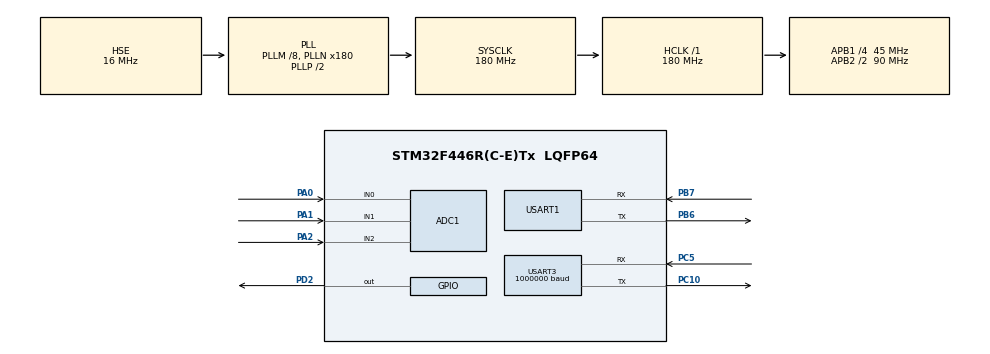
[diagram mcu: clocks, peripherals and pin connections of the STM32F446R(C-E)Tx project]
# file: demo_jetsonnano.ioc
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ADC1.Channel-0\#ChannelRegularConversion=ADC_CHANNEL_0
ADC1.Channel-1\#ChannelRegularConversion=ADC_CHANNEL_1
ADC1.Channel-2\#ChannelRegularConversion=ADC_CHANNEL_2
ADC1.DMAContinuousRequests=ENABLE
ADC1.ExternalTrigConv=ADC_EXTERNALTRIGCONV_T8_TRGO
ADC1.NbrOfConversion=3
ADC1.NbrOfConversionFlag=1
ADC1.Rank-0\#ChannelRegularConversion=1
ADC1.Rank-1\#ChannelRegularConversion=2
ADC1.Rank-2\#ChannelRegularConversion=3
ADC1.SamplingTime-0\#ChannelRegularConversion=ADC_SAMPLETIME_15CYCLES
ADC1.SamplingTime-1\#ChannelRegularConversion=ADC_SAMPLETIME_15CYCLES
ADC1.SamplingTime-2\#ChannelRegularConversion=ADC_SAMPLETIME_15CYCLES
ADC1.ScanConvMode=ENABLE
ADC1.master=1
Dma.ADC1.0.Direction=DMA_PERIPH_TO_MEMORY
Dma.ADC1.0.FIFOMode=DMA_FIFOMODE_DISABLE
Dma.ADC1.0.Instance=DMA2_Stream0
Dma.ADC1.0.MemDataAlignment=DMA_MDATAALIGN_WORD
Dma.ADC1.0.MemInc=DMA_MINC_ENABLE
Dma.ADC1.0.Mode=DMA_CIRCULAR
Dma.ADC1.0.PeriphDataAlignment=DMA_PDATAALIGN_WORD
Dma.ADC1.0.PeriphInc=DMA_PINC_DISABLE
Dma.ADC1.0.Priority=DMA_PRIORITY_LOW
Dma.Request0=ADC1
Dma.Request1=USART1_RX
Dma.Request2=USART1_TX
Dma.Request3=USART3_TX
Dma.USART1_RX.1.Direction=DMA_PERIPH_TO_MEMORY
Dma.USART1_RX.1.FIFOMode=DMA_FIFOMODE_DISABLE
Dma.USART1_RX.1.Instance=DMA2_Stream2
Dma.USART1_RX.1.MemDataAlignment=DMA_MDATAALIGN_BYTE
Dma.USART1_RX.1.MemInc=DMA_MINC_ENABLE
Dma.USART1_RX.1.Mode=DMA_CIRCULAR
Dma.USART1_RX.1.PeriphDataAlignment=DMA_PDATAALIGN_BYTE
Dma.USART1_RX.1.PeriphInc=DMA_PINC_DISABLE
Dma.USART1_RX.1.Priority=DMA_PRIORITY_LOW
Dma.USART1_TX.2.Direction=DMA_MEMORY_TO_PERIPH
Dma.USART1_TX.2.FIFOMode=DMA_FIFOMODE_DISABLE
Dma.USART1_TX.2.Instance=DMA2_Stream7
Dma.USART1_TX.2.MemDataAlignment=DMA_MDATAALIGN_BYTE
Dma.USART1_TX.2.MemInc=DMA_MINC_ENABLE
Dma.USART1_TX.2.Mode=DMA_CIRCULAR
Dma.USART1_TX.2.PeriphDataAlignment=DMA_PDATAALIGN_BYTE
Dma.USART1_TX.2.PeriphInc=DMA_PINC_DISABLE
Dma.USART1_TX.2.Priority=DMA_PRIORITY_LOW
Dma.USART3_TX.3.Direction=DMA_MEMORY_TO_PERIPH
Dma.USART3_TX.3.FIFOMode=DMA_FIFOMODE_DISABLE
Dma.USART3_TX.3.Instance=DMA1_Stream3
Dma.USART3_TX.3.MemDataAlignment=DMA_MDATAALIGN_BYTE
Dma.USART3_TX.3.MemInc=DMA_MINC_ENABLE
Dma.USART3_TX.3.Mode=DMA_CIRCULAR
Dma.USART3_TX.3.PeriphDataAlignment=DMA_PDATAALIGN_BYTE
Dma.USART3_TX.3.PeriphInc=DMA_PINC_DISABLE
Dma.USART3_TX.3.Priority=DMA_PRIORITY_LOW
Mcu.Family=STM32F4
Mcu.Name=STM32F446R(C-E)Tx
Mcu.Package=LQFP64
NVIC.ADC_IRQn=true\:0\:0\:false\:false\:true\:true\:true\:true
NVIC.DMA1_Stream3_IRQn=true\:0\:0\:false\:false\:true\:false\:true\:true
NVIC.DMA2_Stream0_IRQn=true\:0\:0\:false\:false\:true\:false\:true\:true
NVIC.DMA2_Stream2_IRQn=true\:0\:0\:false\:false\:true\:false\:true\:true
NVIC.DMA2_Stream7_IRQn=true\:0\:0\:false\:false\:true\:false\:true\:true
NVIC.PriorityGroup=NVIC_PRIORITYGROUP_4
NVIC.TIM8_UP_TIM13_IRQn=true\:0\:0\:false\:false\:true\:true\:true\:true
NVIC.USART1_IRQn=true\:0\:0\:false\:false\:true\:true\:true\:true
NVIC.USART3_IRQn=true\:0\:0\:false\:false\:true\:true\:true\:true
PA0-WKUP.Signal=ADCx_IN0
PA1.Signal=ADCx_IN1
PA13.Mode=Serial_Wire
PA13.Signal=SYS_JTMS-SWDIO
PA14.Mode=Serial_Wire
PA14.Signal=SYS_JTCK-SWCLK
PA2.Signal=ADCx_IN2
PB6.Mode=Asynchronous
PB6.Signal=USART1_TX
PB7.Mode=Asynchronous
PB7.Signal=USART1_RX
PC10.Mode=Asynchronous
PC10.Signal=USART3_TX
PC5.Mode=Asynchronous
PC5.Signal=USART3_RX
PD2.Signal=GPIO_Output
PH0-OSC_IN.Mode=HSE-External-Oscillator
PH0-OSC_IN.Signal=RCC_OSC_IN
PH1-OSC_OUT.Mode=HSE-External-Oscillator
PH1-OSC_OUT.Signal=RCC_OSC_OUT
ProjectManager.HeapSize=0x200
ProjectManager.StackSize=0x400
ProjectManager.TargetToolchain=STM32CubeIDE
RCC.AHBFreq_Value=180000000
RCC.APB1CLKDivider=RCC_HCLK_DIV4
RCC.APB1Freq_Value=45000000
RCC.APB1TimFreq_Value=90000000
RCC.APB2CLKDivider=RCC_HCLK_DIV2
RCC.APB2Freq_Value=90000000
RCC.APB2TimFreq_Value=180000000
RCC.CortexFreq_Value=180000000
RCC.HCLKFreq_Value=180000000
RCC.HSE_VALUE=16000000
RCC.PLLM=8
RCC.PLLN=180
RCC.PLLSourceVirtual=RCC_PLLSOURCE_HSE
RCC.SYSCLKFreq_VALUE=180000000
RCC.SYSCLKSource=RCC_SYSCLKSOURCE_PLLCLK
RCC.USBFreq_Value=180000000
RCC.VCOOutputFreq_Value=360000000
SH.ADCx_IN0.0=ADC1_IN0,IN0
SH.ADCx_IN1.0=ADC1_IN1,IN1
SH.ADCx_IN2.0=ADC1_IN2,IN2
TIM8.Period=10000-1
TIM8.Prescaler=180-1
TIM8.TIM_MasterOutputTrigger=TIM_TRGO_UPDATE
USART1.VirtualMode=VM_ASYNC
USART3.BaudRate=1000000
USART3.VirtualMode=VM_ASYNC
VP_TIM8_VS_ClockSourceINT.Mode=Internal
board=custom

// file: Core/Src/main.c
/* USER CODE BEGIN Header */
/**
  ******************************************************************************
  * @file           : main.c
  * @brief          : Main program body
  ******************************************************************************
  * @attention
  *
  * Copyright (c) 2024 STMicroelectronics.
  * All rights reserved.
  *
  * This software is licensed under terms that can be found in the LICENSE file
  * in the root directory of this software component.
  * If no LICENSE file comes with this software, it is provided AS-IS.
  *
  ******************************************************************************
  */
/* USER CODE END Header */
#include "main.h"
#include "adc.h"
#include "dma.h"
#include "tim.h"
#include "usart.h"
#include "gpio.h"

/* USER CODE BEGIN Includes */
#include <stdint.h>
/* USER CODE END Includes */

/* USER CODE BEGIN PD */
#define RX_BUFFER_SIZE 256
/* USER CODE END PD */

/* USER CODE BEGIN PV */
uint32_t adc1_buffer[3] = {0,};
uint32_t adc1_buffer_for6[3][6] = {0,};
uint8_t adc_filter_index = 0;
uint32_t adc_filter_sum = 0;
uint32_t filtered_buffer[3] = {0,};
uint8_t send_psd_flag = 0;

uint8_t PCrxBuffer[RX_BUFFER_SIZE];
extern int32_t linear_vel;
extern int32_t angular_vel;
int32_t velocity_0 = 0;		//max : 250, right
int32_t velocity_1 = 0;		//max : 250, left
/* USER CODE END PV */

void SystemClock_Config(void);
/* USER CODE BEGIN PFP */
void writePacket(uint8_t packet[], int length);
void writePacket3(uint8_t packet[], int length);

void sendPsd();

void operatingMode(uint8_t motor_id);
void enableTorque(uint8_t motor_id);
void sendGoalVelocity(uint8_t motor_id, int32_t velocity);

void convertlineangVelToSpeed(int32_t linear_vel, int32_t angular_vel);

/* USER CODE END PFP */

/* USER CODE BEGIN 0 */
void writePacket(uint8_t packet[], int length) {
    for (int i = 0; i < length; i++) {
        while (!LL_USART_IsActiveFlag_TXE(USART1));
        LL_USART_TransmitData8(USART1, packet[i]);
    }
}
void writePacket3(uint8_t packet[], int length) {
    for (int i = 0; i < length; i++) {
        while (!LL_USART_IsActiveFlag_TXE(USART3));
        LL_USART_TransmitData8(USART3, packet[i]);
    }
}

void sendPsd() {
    uint8_t packet[14]; // ?��?��(1) + ?��?��?��(12) + ?��?��(1)
    int index = 0;

    packet[index++] = 0x08;

    for(int i=0; i<3; i++) {
		packet[index++] = (filtered_buffer[i] >> 24) & 0xFF;
		packet[index++] = (filtered_buffer[i] >> 16) & 0xFF;
		packet[index++] = (filtered_buffer[i] >> 8) & 0xFF;
		packet[index++] = filtered_buffer[i] & 0xFF;
    }
    packet[index++] = 0x20;

    writePacket(packet, index);
}
/* USER CODE END 0 */

int main(void)
{

  /* MCU Configuration--------------------------------------------------------*/

  /* Reset of all peripherals, Initializes the Flash interface and the Systick. */
  HAL_Init();

  /* Configure the system clock */
  SystemClock_Config();

  /* Initialize all configured peripherals */
  MX_GPIO_Init();
  MX_DMA_Init();
  MX_ADC1_Init();
  MX_TIM8_Init();
  MX_USART1_UART_Init();
  MX_USART3_UART_Init();
  /* USER CODE BEGIN 2 */
  HAL_TIM_Base_Start_IT(&htim8);
  HAL_ADC_Start_DMA(&hadc1, adc1_buffer, 3);

  LL_DMA_SetMemoryAddress(DMA2, LL_DMA_STREAM_2, (uint32_t)PCrxBuffer);
  LL_DMA_SetPeriphAddress(DMA2, LL_DMA_STREAM_2, (uint32_t)&USART1->DR);
  LL_DMA_SetDataLength(DMA2, LL_DMA_STREAM_2, RX_BUFFER_SIZE);
  LL_DMA_EnableStream(DMA2, LL_DMA_STREAM_2);
  LL_USART_EnableDMAReq_RX(USART1);
  LL_USART_EnableIT_IDLE(USART1);

  operatingMode(0);
  enableTorque(0);
  operatingMode(1);
  enableTorque(1);
  /* USER CODE END 2 */

  /* Infinite loop */
  while (1)
  {

    /* USER CODE BEGIN 3 */
	  if(send_psd_flag) {
		  sendPsd();
		  send_psd_flag = 0;
	  }
	  convertlineangVelToSpeed(linear_vel, angular_vel);
	  sendGoalVelocity(0, -velocity_0);
	  sendGoalVelocity(1, velocity_1);
  }
  /* USER CODE END 3 */
}

void SystemClock_Config(void)
{
  RCC_OscInitTypeDef RCC_OscInitStruct = {0};
  RCC_ClkInitTypeDef RCC_ClkInitStruct = {0};

  /** Configure the main internal regulator output voltage
  */
  __HAL_RCC_PWR_CLK_ENABLE();
  __HAL_PWR_VOLTAGESCALING_CONFIG(PWR_REGULATOR_VOLTAGE_SCALE1);

  /** Initializes the RCC Oscillators according to the specified parameters
  * in the RCC_OscInitTypeDef structure.
  */
  RCC_OscInitStruct.OscillatorType = RCC_OSCILLATORTYPE_HSE;
  RCC_OscInitStruct.HSEState = RCC_HSE_ON;
  RCC_OscInitStruct.PLL.PLLState = RCC_PLL_ON;
  RCC_OscInitStruct.PLL.PLLSource = RCC_PLLSOURCE_HSE;
  RCC_OscInitStruct.PLL.PLLM = 8;
  RCC_OscInitStruct.PLL.PLLN = 180;
  RCC_OscInitStruct.PLL.PLLP = RCC_PLLP_DIV2;
  RCC_OscInitStruct.PLL.PLLQ = 2;
  RCC_OscInitStruct.PLL.PLLR = 2;
  if (HAL_RCC_OscConfig(&RCC_OscInitStruct) != HAL_OK)
  {
    Error_Handler();
  }

  /** Activate the Over-Drive mode
  */
  if (HAL_PWREx_EnableOverDrive() != HAL_OK)
  {
    Error_Handler();
  }

  /** Initializes the CPU, AHB and APB buses clocks
  */
  RCC_ClkInitStruct.ClockType = RCC_CLOCKTYPE_HCLK|RCC_CLOCKTYPE_SYSCLK
                              |RCC_CLOCKTYPE_PCLK1|RCC_CLOCKTYPE_PCLK2;
  RCC_ClkInitStruct.SYSCLKSource = RCC_SYSCLKSOURCE_PLLCLK;
  RCC_ClkInitStruct.AHBCLKDivider = RCC_SYSCLK_DIV1;
  RCC_ClkInitStruct.APB1CLKDivider = RCC_HCLK_DIV4;
  RCC_ClkInitStruct.APB2CLKDivider = RCC_HCLK_DIV2;

  if (HAL_RCC_ClockConfig(&RCC_ClkInitStruct, FLASH_LATENCY_5) != HAL_OK)
  {
    Error_Handler();
  }
}

/* USER CODE BEGIN 4 */
void HAL_ADC_ConvCpltCallback(ADC_HandleTypeDef* hadc) {
	if(hadc->Instance == hadc1.Instance) {
		for(int i = 0; i < 3; i++) {
			adc1_buffer_for6[i][adc_filter_index] = adc1_buffer[i];
		}
		adc_filter_index = (adc_filter_index + 1) % 6;

		for(int i=0; i<3; i++) {
			adc_filter_sum = 0;
			for(int j=0; j<6; j++) {
				adc_filter_sum += adc1_buffer_for6[i][j];
			}
			filtered_buffer[i] = adc_filter_sum / 6;
		}
	}
	send_psd_flag = 1;
}
unsigned short update_crc(unsigned short crc_accum, unsigned char *data_blk_ptr, unsigned short data_blk_size)
{
  unsigned short i, j;
  unsigned short crc_table[256] = {
      0x0000, 0x8005, 0x800F, 0x000A, 0x801B, 0x001E, 0x0014, 0x8011,
      0x8033, 0x0036, 0x003C, 0x8039, 0x0028, 0x802D, 0x8027, 0x0022,
      0x8063, 0x0066, 0x006C, 0x8069, 0x0078, 0x807D, 0x8077, 0x0072,
      0x0050, 0x8055, 0x805F, 0x005A, 0x804B, 0x004E, 0x0044, 0x8041,
      0x80C3, 0x00C6, 0x00CC, 0x80C9, 0x00D8, 0x80DD, 0x80D7, 0x00D2,
      0x00F0, 0x80F5, 0x80FF, 0x00FA, 0x80EB, 0x00EE, 0x00E4, 0x80E1,
      0x00A0, 0x80A5, 0x80AF, 0x00AA, 0x80BB, 0x00BE, 0x00B4, 0x80B1,
      0x8093, 0x0096, 0x009C, 0x8099, 0x0088, 0x808D, 0x8087, 0x0082,
      0x8183, 0x0186, 0x018C, 0x8189, 0x0198, 0x819D, 0x8197, 0x0192,
      0x01B0, 0x81B5, 0x81BF, 0x01BA, 0x81AB, 0x01AE, 0x01A4, 0x81A1,
      0x01E0, 0x81E5, 0x81EF, 0x01EA, 0x81FB, 0x01FE, 0x01F4, 0x81F1,
      0x81D3, 0x01D6, 0x01DC, 0x81D9, 0x01C8, 0x81CD, 0x81C7, 0x01C2,
      0x0140, 0x8145, 0x814F, 0x014A, 0x815B, 0x015E, 0x0154, 0x8151,
      0x8173, 0x0176, 0x017C, 0x8179, 0x0168, 0x816D, 0x8167, 0x0162,
      0x8123, 0x0126, 0x012C, 0x8129, 0x0138, 0x813D, 0x8137, 0x0132,
      0x0110, 0x8115, 0x811F, 0x011A, 0x810B, 0x010E, 0x0104, 0x8101,
      0x8303, 0x0306, 0x030C, 0x8309, 0x0318, 0x831D, 0x8317, 0x0312,
      0x0330, 0x8335, 0x833F, 0x033A, 0x832B, 0x032E, 0x0324, 0x8321,
      0x0360, 0x8365, 0x836F, 0x036A, 0x837B, 0x037E, 0x0374, 0x8371,
      0x8353, 0x0356, 0x035C, 0x8359, 0x0348, 0x834D, 0x8347, 0x0342,
      0x03C0, 0x83C5, 0x83CF, 0x03CA, 0x83DB, 0x03DE, 0x03D4, 0x83D1,
      0x83F3, 0x03F6, 0x03FC, 0x83F9, 0x03E8, 0x83ED, 0x83E7, 0x03E2,
      0x83A3, 0x03A6, 0x03AC, 0x83A9, 0x03B8, 0x83BD, 0x83B7, 0x03B2,
      0x0390, 0x8395, 0x839F, 0x039A, 0x838B, 0x038E, 0x0384, 0x8381,
      0x0280, 0x8285, 0x828F, 0x028A, 0x829B, 0x029E, 0x0294, 0x8291,
      0x82B3, 0x02B6, 0x02BC, 0x82B9, 0x02A8, 0x82AD, 0x82A7, 0x02A2,
      0x82E3, 0x02E6, 0x02EC, 0x82E9, 0x02F8, 0x82FD, 0x82F7, 0x02F2,
      0x02D0, 0x82D5, 0x82DF, 0x02DA, 0x82CB, 0x02CE, 0x02C4, 0x82C1,
      0x8243, 0x0246, 0x024C, 0x8249, 0x0258, 0x825D, 0x8257, 0x0252,
      0x0270, 0x8275, 0x827F, 0x027A, 0x826B, 0x026E, 0x0264, 0x8261,
      0x0220, 0x8225, 0x822F, 0x022A, 0x823B, 0x023E, 0x0234, 0x8231,
      0x8213, 0x0216, 0x021C, 0x8219, 0x0208, 0x820D, 0x8207, 0x0202
  };

  for(j = 0; j < data_blk_size; j++)
  {
      i = ((unsigned short)(crc_accum >> 8) ^ data_blk_ptr[j]) & 0xFF;
      crc_accum = (crc_accum << 8) ^ crc_table[i];
  }

  return crc_accum;
}
void enableTorque(uint8_t motor_id) {
  uint8_t packet[14];
  size_t index = 0;

  packet[index++] = 0xFF;
  packet[index++] = 0xFF;
  packet[index++] = 0xFD;
  packet[index++] = 0x00;
  packet[index++] = motor_id; // ID

  packet[index++] = 0x06;
  packet[index++] = 0x00;

  packet[index++] = 0x03; // Write

  packet[index++] = 0x40;
  packet[index++] = 0x00;
  packet[index++] = 0x01; // Torque ?��?��?��

  unsigned short crc = update_crc(0, packet, index);
  packet[index++] = crc & 0xFF;
  packet[index++] = (crc >> 8) & 0xFF;

  writePacket3(packet, index);
}

void operatingMode(uint8_t motor_id) {
  uint8_t packet[14];
  size_t index = 0;

  packet[index++] = 0xFF;
  packet[index++] = 0xFF;
  packet[index++] = 0xFD;
  packet[index++] = 0x00;
  packet[index++] = motor_id; // ID

  packet[index++] = 0x06;
  packet[index++] = 0x00;

  packet[index++] = 0x03; // Write

  packet[index++] = 0x0B;
  packet[index++] = 0x00;
  packet[index++] = 0x01;

  unsigned short crc = update_crc(0, packet, index);
  packet[index++] = crc & 0xFF;
  packet[index++] = (crc >> 8) & 0xFF;

  writePacket3(packet, index);
}

void sendGoalVelocity(uint8_t motor_id, int32_t velocity) {
  uint8_t packet[16];
  size_t index = 0;

  packet[index++] = 0xFF;
  packet[index++] = 0xFF;
  packet[index++] = 0xFD;
  packet[index++] = 0x00;
  packet[index++] = motor_id; // ID

  packet[index++] = 0x09;
  packet[index++] = 0x00;

  packet[index++] = 0x03; // Write

  packet[index++] = 0x68;
  packet[index++] = 0x00;
  packet[index++] = (velocity & 0xFF);
  packet[index++] = (velocity >> 8) & 0xFF;
  packet[index++] = (velocity >> 16) & 0xFF;
  packet[index++] = (velocity >> 24) & 0xFF;

  unsigned short crc = update_crc(0, packet, index);
  packet[index++] = crc & 0xFF;
  packet[index++] = (crc >> 8) & 0xFF;

  writePacket3(packet, index);
}

void convertlineangVelToSpeed(int32_t linear_vel, int32_t angular_vel) {
	velocity_0 = linear_vel + (angular_vel * 0.9);
	velocity_1 = linear_vel - (angular_vel * 0.9);
}
/* USER CODE END 4 */

void Error_Handler(void)
{
  __disable_irq();
  while (1)
  {
  }
}
